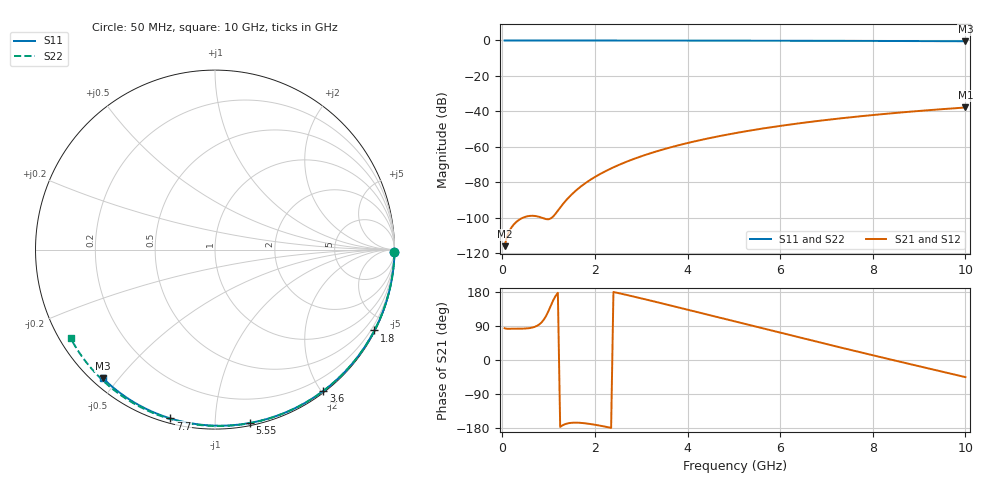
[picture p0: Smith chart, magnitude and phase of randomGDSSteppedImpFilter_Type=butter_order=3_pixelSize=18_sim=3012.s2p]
! freq	dB(S11)	phase(S11)	dB(S12)	phase(S12)
!  dB(S21)	phase(S21)	dB(S22)	phase(S22)
!S-par simulation data
#  GHz  S  DB  R 50
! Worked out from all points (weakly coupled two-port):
!   200 points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, 50 MHz to 10 GHz, reference 50 ohm
!   highest |S21| = -37.80 dB at 10 GHz (marker M1); lowest = -116.0 dB at 50 MHz (marker M2)
!   lowest |S11| = -0.4 dB at 10 GHz (marker M3), VSWR 39.15, Z = 1.54 - j22.7 ohm
!   |S11| at or under -10 dB: nowhere
!   |S22| runs from -0.5 to 0.0 dB; largest |S21 - S12| = 0
!   S11 on the Smith chart (normalised r, x): 50 MHz: open; 1.8 GHz: 0.04, -4.19; 3.6 GHz: 0.02, -2.03; 5.55 GHz: 0.02, -1.22; 7.7 GHz: 0.02, -0.77; 10 GHz: 0.03, -0.45
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0.05  -0.00 -0.8  -115.99 83.9  -115.99 83.9  -0.00 -0.9
0.45  -0.01 -6.8  -99.90 82.8  -99.90 82.8  -0.01 -7.7
0.9  -0.02 -13.6  -100.41 107.0  -100.41 107.0  -0.02 -15.4
1.3  -0.02 -19.5  -92.55 -172.4  -92.55 -172.4  -0.03 -22.2
1.75  -0.03 -26.1  -81.29 -166.5  -81.29 -166.5  -0.04 -29.7
1.8  -0.03 -26.9  -80.35 -167.2  -80.35 -167.2  -0.04 -30.5
1.85  -0.04 -27.6  -79.46 -168.0  -79.46 -168.0  -0.04 -31.3
2.05  -0.04 -30.5  -76.21 -171.9  -76.21 -171.9  -0.04 -34.6
2.2  -0.04 -32.7  -74.09 -175.4  -74.09 -175.4  -0.05 -37.1
2.5  -0.05 -37.0  -70.37 176.8  -70.37 176.8  -0.05 -42.0
2.9  -0.06 -42.7  -66.24 165.6  -66.24 165.6  -0.06 -48.4
3.4  -0.07 -49.8  -61.99 150.9  -61.99 150.9  -0.08 -56.3
3.6  -0.07 -52.6  -60.51 144.9  -60.51 144.9  -0.08 -59.5
4.3  -0.09 -62.1  -56.04 123.6  -56.04 123.6  -0.10 -70.2
5.05  -0.11 -72.0  -52.16 100.8  -52.16 100.8  -0.13 -81.3
5.55  -0.13 -78.5  -49.96 85.6  -49.96 85.6  -0.15 -88.5
6.1  -0.15 -85.5  -47.82 68.9  -47.82 68.9  -0.17 -96.3
6.7  -0.18 -92.9  -45.76 50.9  -45.76 50.9  -0.20 -104.6
7.7  -0.24 -104.8  -42.83 21.3  -42.83 21.3  -0.27 -118.1
8.35  -0.29 -112.4  -41.20 2.3  -41.20 2.3  -0.33 -126.7
9.2  -0.36 -122.1  -39.33 -22.2  -39.33 -22.2  -0.41 -137.9
10  -0.44 -131.1  -37.80 -45.2  -37.80 -45.2  -0.50 -148.4
